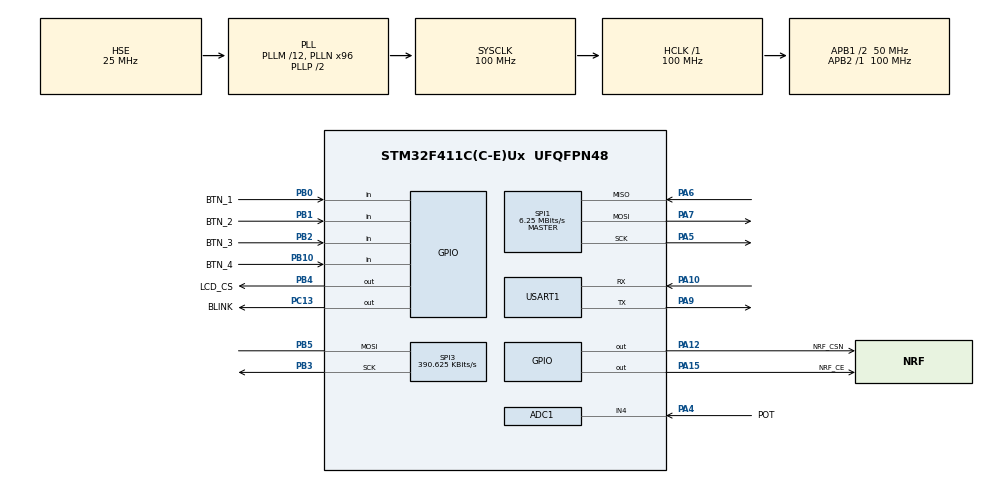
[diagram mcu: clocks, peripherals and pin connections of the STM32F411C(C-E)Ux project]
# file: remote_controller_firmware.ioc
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ADC1.Channel-0\#ChannelRegularConversion=ADC_CHANNEL_4
ADC1.NbrOfConversionFlag=1
ADC1.Rank-0\#ChannelRegularConversion=1
ADC1.SamplingTime-0\#ChannelRegularConversion=ADC_SAMPLETIME_3CYCLES
ADC1.master=1
Mcu.Family=STM32F4
Mcu.Name=STM32F411C(C-E)Ux
Mcu.Package=UFQFPN48
NVIC.PriorityGroup=NVIC_PRIORITYGROUP_4
NVIC.TIM4_IRQn=true\:0\:0\:false\:false\:true\:true\:true\:true
NVIC.TIM5_IRQn=true\:0\:0\:false\:false\:true\:true\:true\:true
NVIC.USART1_IRQn=true\:0\:0\:false\:false\:true\:true\:true\:true
PA10.Mode=Asynchronous
PA10.Signal=USART1_RX
PA12.GPIO_Label=NRF_CSN
PA12.PinState=GPIO_PIN_SET
PA12.Signal=GPIO_Output
PA15.GPIO_Label=NRF_CE
PA15.Signal=GPIO_Output
PA4.GPIO_Label=POT
PA4.Signal=ADCx_IN4
PA5.Mode=Full_Duplex_Master
PA5.Signal=SPI1_SCK
PA6.Mode=Full_Duplex_Master
PA6.Signal=SPI1_MISO
PA7.Mode=Full_Duplex_Master
PA7.Signal=SPI1_MOSI
PA9.Mode=Asynchronous
PA9.Signal=USART1_TX
PB0.GPIO_Label=BTN_1
PB0.GPIO_PuPd=GPIO_PULLUP
PB0.Signal=GPIO_Input
PB1.GPIO_Label=BTN_2
PB1.GPIO_PuPd=GPIO_PULLUP
PB1.Signal=GPIO_Input
PB10.GPIO_Label=BTN_4
PB10.GPIO_PuPd=GPIO_PULLUP
PB10.Signal=GPIO_Input
PB2.GPIO_Label=BTN_3
PB2.GPIO_PuPd=GPIO_PULLUP
PB2.Signal=GPIO_Input
PB3.Mode=Simplex_Bidirectional_Master
PB3.Signal=SPI3_SCK
PB4.GPIO_Label=LCD_CS
PB4.Signal=GPIO_Output
PB5.Mode=Simplex_Bidirectional_Master
PB5.Signal=SPI3_MOSI
PC13-ANTI_TAMP.GPIO_Label=BLINK
PC13-ANTI_TAMP.Signal=GPIO_Output
PH0\ -\ OSC_IN.Mode=HSE-External-Oscillator
PH0\ -\ OSC_IN.Signal=RCC_OSC_IN
PH1\ -\ OSC_OUT.Mode=HSE-External-Oscillator
PH1\ -\ OSC_OUT.Signal=RCC_OSC_OUT
ProjectManager.HeapSize=0x200
ProjectManager.StackSize=0x400
ProjectManager.TargetToolchain=STM32CubeIDE
RCC.48MHZClocksFreq_Value=50000000
RCC.AHBFreq_Value=100000000
RCC.APB1CLKDivider=RCC_HCLK_DIV2
RCC.APB1Freq_Value=50000000
RCC.APB1TimFreq_Value=100000000
RCC.APB2Freq_Value=100000000
RCC.APB2TimFreq_Value=100000000
RCC.CortexFreq_Value=100000000
RCC.HCLKFreq_Value=100000000
RCC.HSE_VALUE=25000000
RCC.HSI_VALUE=16000000
RCC.LSE_VALUE=32768
RCC.PLLM=12
RCC.PLLN=96
RCC.PLLSourceVirtual=RCC_PLLSOURCE_HSE
RCC.SYSCLKFreq_VALUE=100000000
RCC.SYSCLKSource=RCC_SYSCLKSOURCE_PLLCLK
RCC.VCOOutputFreq_Value=200000000
SH.ADCx_IN4.0=ADC1_IN4,IN4
SPI1.BaudRatePrescaler=SPI_BAUDRATEPRESCALER_16
SPI1.CalculateBaudRate=6.25 MBits/s
SPI1.Direction=SPI_DIRECTION_2LINES
SPI1.Mode=SPI_MODE_MASTER
SPI1.VirtualType=VM_MASTER
SPI3.BaudRatePrescaler=SPI_BAUDRATEPRESCALER_128
SPI3.CLKPhase=SPI_PHASE_2EDGE
SPI3.CLKPolarity=SPI_POLARITY_HIGH
SPI3.CalculateBaudRate=390.625 KBits/s
SPI3.Direction=SPI_DIRECTION_1LINE
SPI3.Mode=SPI_MODE_MASTER
SPI3.VirtualType=VM_MASTER
TIM11.Period=0xffff
TIM11.Prescaler=99
TIM4.AutoReloadPreload=TIM_AUTORELOAD_PRELOAD_ENABLE
TIM4.Period=999
TIM4.Prescaler=999
TIM5.AutoReloadPreload=TIM_AUTORELOAD_PRELOAD_ENABLE
TIM5.Period=999
TIM5.Prescaler=99
USART1.VirtualMode=VM_ASYNC
VP_TIM11_VS_ClockSourceINT.Mode=Enable_Timer
VP_TIM4_VS_ClockSourceINT.Mode=Internal
VP_TIM5_VS_ClockSourceINT.Mode=Internal
board=custom

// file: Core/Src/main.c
/* USER CODE BEGIN Header */
/**
  ******************************************************************************
  * @file           : main.c
  * @brief          : Main program body
  ******************************************************************************
  * @attention
  *
  * Copyright (c) 2026 STMicroelectronics.
  * All rights reserved.
  *
  * This software is licensed under terms that can be found in the LICENSE file
  * in the root directory of this software component.
  * If no LICENSE file comes with this software, it is provided AS-IS.
  *
  ******************************************************************************
  */
/* USER CODE END Header */
#include "main.h"

/* USER CODE BEGIN Includes */
#include <stdio.h>

#include "st7920_driver.h"
#include "nRF24_driver.h"

#include "message_protocol.h"

#include "command_processor.h"
/* USER CODE END Includes */

ADC_HandleTypeDef hadc1;

SPI_HandleTypeDef hspi1;
SPI_HandleTypeDef hspi3;

TIM_HandleTypeDef htim4;
TIM_HandleTypeDef htim5;
TIM_HandleTypeDef htim11;

UART_HandleTypeDef huart1;

/* USER CODE BEGIN PV */
TIM_HandleTypeDef* lcd_us_timer = &htim11;

UART_HandleTypeDef* huart_dbg = &huart1;

SPI_HandleTypeDef* nrf_spi = &hspi1;
SPI_HandleTypeDef* lcd_spi = &hspi3;
/* USER CODE END PV */

void SystemClock_Config(void);
static void MX_GPIO_Init(void);
static void MX_SPI3_Init(void);
static void MX_ADC1_Init(void);
static void MX_SPI1_Init(void);
static void MX_USART1_UART_Init(void);
static void MX_TIM11_Init(void);
static void MX_TIM4_Init(void);
static void MX_TIM5_Init(void);

/* USER CODE BEGIN 0 */
uint16_t POT_result = 2048;

RWP_MODE rwp_mode = RWP_MODE_HALTED;
RWP_DATA_KIND rwp_data = SENSOR_DATA;

uint8_t control_mode;
float rpm = 0.0, pitch, roll, yaw;
float v_a, v_b, v_c, v_d, v_e, v_f, ctrl_value;

uint8_t button_state[4] = {0};

void HAL_TIM_PeriodElapsedCallback(TIM_HandleTypeDef* htim) {
  static uint32_t tick_count = 0;

  // Operate the nRF24 at 100Hz
  // Also process UART at 100Hz
  if (htim == &htim4) {
    // If the nRF24 received a response packet, get and parse it.
    uint8_t status = readNRF24status();
    if ((status & 0b00100000) != 0) {
      RWP_MESSAGE_FRAME rwp_message;

      // Retrieve acknowledgement payload
      readNRF24payload(rwp_message.bytes, 32);

      if (rwp_message.control_data.data_type == SENSOR_DATA) {
        rpm   = rwp_message.sensor_data.RPM;
        pitch = rwp_message.sensor_data.pitch;
        roll  = rwp_message.sensor_data.roll;
        yaw   = rwp_message.sensor_data.yaw;

        if (getDebug() == 1) {
          char buffer[256];
          float t = (float)tick_count/100.0;
          sprintf(buffer, "%6.2f, %8.5f, %8.5f, %8.5f, %5.1f\r\n", t, yaw, pitch, roll, rpm);

          uint8_t len = strlen(buffer);

          putString((uint8_t*)buffer, len);
        }
      }
      else if (rwp_message.control_data.data_type == CONTROL_DATA) {
        v_a = rwp_message.control_data.v_a;
        v_b = rwp_message.control_data.v_b;
        v_c = rwp_message.control_data.v_c;
        v_d = rwp_message.control_data.v_d;
        v_e = rwp_message.control_data.v_e;
        v_f = rwp_message.control_data.v_f;
        ctrl_value = rwp_message.control_data.ctrl_value;

        if (getDebug() == 1) {
          char buffer[256];
          float t = (float)tick_count/100.0;
          sprintf(buffer, "%6.2f, %8.5f, %8.5f, %8.5f, %8.5f, %8.5f, %8.5f, %8.5f\r\n", t, v_a, v_b, v_c, v_d, v_e, v_f, ctrl_value);

          uint8_t len = strlen(buffer);

          putString((uint8_t*)buffer, len);
        }
      }

      // Clear TX DS interrupt
      writeNRF24register(N24_STATUS, status | 0b00100000);
    }

    // On retransmission overflow, silently ignore...
    if ((status & 0b00010000) != 0) {
      writeNRF24register(N24_STATUS, status | 0b00010000);
    }

    // Set up a message frame
    RMT_MESSAGE_FRAME rmt_message;
    memset(rmt_message.bytes, 0x00, 16);

    // Put the potentiometer reading in the transmit buffer
    rmt_message.control_msg.req_mode = rwp_mode;
    rmt_message.control_msg.req_data_type = rwp_data;
    rmt_message.control_msg.pot_value = POT_result-2048;

    // Send the message
    sendNRF24payload(rmt_message.bytes, 16);

    processUART();

    ++tick_count;
  }
  // Sample and debounce the buttons at 1kHz
  // Also sample and filter the potentiometer at 1kHz
  else if (htim == &htim5) {
    // Sample the buttons
    GPIO_PinState btn1 = HAL_GPIO_ReadPin(BTN_2_GPIO_Port, BTN_2_Pin); // Yes, the numbers disagree
    GPIO_PinState btn2 = HAL_GPIO_ReadPin(BTN_1_GPIO_Port, BTN_1_Pin); // I built the remote incorrectly...
    GPIO_PinState btn3 = HAL_GPIO_ReadPin(BTN_4_GPIO_Port, BTN_4_Pin);
    GPIO_PinState btn4 = HAL_GPIO_ReadPin(BTN_3_GPIO_Port, BTN_3_Pin);

    GPIO_PinState cur_states[4] = {
      btn1,
      btn2,
      btn3,
      btn4
    };

    static uint8_t button_counters[4];
    uint8_t num_pressed = 0;

    for (int i=0; i<4; i++) {
      if (cur_states[i] == GPIO_PIN_SET) button_counters[i] = 0;
      else ++num_pressed;

      if (button_counters[i] >= 5) button_state[i] = 1;
      else {
        button_state[i] = 0;
        ++button_counters[i];
      }
    }

    // Get a reading from the potentiometer
    HAL_ADC_Start(&hadc1);
    HAL_ADC_PollForConversion(&hadc1, 1);
    uint16_t result = HAL_ADC_GetValue(&hadc1);
    // Filter the result
    POT_result = 0.6*POT_result + 0.4*result;

    // Press all four buttons with knob all the way
    // to the right to get into debug mode
    if (num_pressed == 4 && POT_result < 10)
      setDebug(1);
  }
}

typedef enum {
  MAIN_MENU,
  MANUAL_MENU,
  AUTO_MENU,
  CALIBRATION_MENU,
  HELP_MENU,
  DEBUG_MENU,
  EASTER_EGG_MENU,
  ERROR_ACKNOWLEDGE,
  CONNECTION_PENDING
} rmt_mode;

rmt_mode cur_rmt_mode  = DEBUG_MENU;
rmt_mode prev_rmt_mode = DEBUG_MENU;

int8_t menu_sel_index = 0;
uint16_t frame_counter = 0;

void btnSelect() {
  switch (cur_rmt_mode) {
    case DEBUG_MENU:
      if (rwp_mode == RWP_MODE_MANUAL) rwp_mode = RWP_MODE_AUTO;
      else rwp_mode = RWP_MODE_MANUAL;
      break;
    case ERROR_ACKNOWLEDGE:
      cur_rmt_mode = MAIN_MENU;
      break;
    case MAIN_MENU: {
      rmt_mode entry_mode[] = {
        MANUAL_MENU,
        AUTO_MENU,
        CALIBRATION_MENU,
        HELP_MENU,
        DEBUG_MENU
      };

      cur_rmt_mode = entry_mode[menu_sel_index];
    }
    default:
      break;
  }
}

void btnBack() {
  switch (cur_rmt_mode) {
    case DEBUG_MENU:
      cur_rmt_mode = MAIN_MENU;
      rwp_mode = RWP_MODE_HALTED;
      break;
    default:
      cur_rmt_mode = MAIN_MENU;
      rwp_mode = RWP_MODE_HALTED;
      break;
  }
}

void btnUp() {
  switch (cur_rmt_mode) {
    case DEBUG_MENU:
      if (rwp_mode == RWP_MODE_HALTED) rwp_mode = RWP_MODE_LOCK;
      else if (rwp_mode == RWP_MODE_LOCK) rwp_mode = RWP_MODE_CALIBRATION;
      else rwp_mode = RWP_MODE_HALTED;
      break;
    default:
      --menu_sel_index;
      break;
  }
}

void btnDown() {
  switch (cur_rmt_mode) {
    case DEBUG_MENU:
      if (rwp_mode != RWP_MODE_CALIBRATION) rwp_mode = RWP_MODE_CALIBRATION;
      break;
    default:
      ++menu_sel_index;
      break;
  }

  return;
}

void btnHandler() {
  // Buttons ordered from top left to bottom right
  static uint8_t prev_state[4] = {0, 0, 0, 0};
  void (*btnFn[4])() = {&btnSelect, &btnUp, &btnBack, &btnDown};

  for (int i=0; i<4; i++) {
    if (prev_state[i] == 0 && button_state[i] == 1) {
      prev_state[i] = 1;

      btnFn[i]();
    }
    else if (button_state[i] == 0) {
      prev_state[i] = 0;
    }
  }
}

void updateDisplay() {
  // General purpose string buffer
  uint8_t buffer[32];

  // When switching remote modes, completely clear the buffer
  static rmt_mode last_rmt_mode = DEBUG_MENU;
  uint8_t new_menu = (last_rmt_mode != cur_rmt_mode);
  if (new_menu) LCDclearBuffer(0x00);
  last_rmt_mode = cur_rmt_mode;

  switch (cur_rmt_mode) {
  case DEBUG_MENU:
    // Print the button statusses
    sprintf((char*)buffer, "BTNS [%.1d%.1d%.1d%.1d]", button_state[0], button_state[1], button_state[2], button_state[3]);
    LCDdrawEmphString(buffer, 11, 0, 0);

    // Display the last potentiometer reading
    float voltage = 3.3/4096.0 * POT_result;
    sprintf((char*)buffer, "POT  %1.02fV", voltage);
    LCDdrawString(buffer, 10, 10, 0);

    if (rwp_data == SENSOR_DATA) {
      // Display the received data
      sprintf((char*)buffer, "RPM   %5d", (int)rpm);
      LCDdrawString(buffer, 11, 28, 0);

      sprintf((char*)buffer, "Y    %6.2f", yaw);
      LCDdrawString(buffer, 11, 37, 0);

      sprintf((char*)buffer, "P    %6.2f", pitch);
      LCDdrawString(buffer, 11, 46, 0);

      sprintf((char*)buffer, "R    %6.2f", roll);
      LCDdrawString(buffer, 11, 54, 0);
    }
    else {
      sprintf((char*)buffer, "CVAL %6.3f", ctrl_value);
      LCDdrawString(buffer, 11, 28, 0);

      sprintf((char*)buffer, "a_p %7.4f", v_a);
      LCDdrawString(buffer, 11, 37, 0);

      sprintf((char*)buffer, "w_p %7.4f", v_b);
      LCDdrawString(buffer, 11, 46, 0);

      sprintf((char*)buffer, "w_f %7.4f", v_c);
      LCDdrawString(buffer, 11, 54, 0);

      sprintf((char*)buffer, "PEp %6.3f", v_d);
      LCDdrawString(buffer, 10, 37, 68);

      sprintf((char*)buffer, "KEp %6.3f", v_e);
      LCDdrawString(buffer, 10, 46, 68);

      sprintf((char*)buffer, "KEf %6.3f", v_f);
      LCDdrawString(buffer, 10, 54, 68);
    }

    char* s = "????";
    if (rwp_mode == RWP_MODE_MANUAL) s = "MANL";
    else if (rwp_mode == RWP_MODE_AUTO) s = "AUTO";
    else if (rwp_mode == RWP_MODE_HALTED) s = "HALT";
    else if (rwp_mode == RWP_MODE_CALIBRATION) s = "CALI";
    else if (rwp_mode == RWP_MODE_LOCK) s = "LOCK";
    sprintf((char*)buffer, "MODE  %s", s);
    LCDdrawString(buffer, 10, 28, 68);

    // Nice divider
    LCDdrawRect(66, 27, 1, 37, 1);
    break;
  case MAIN_MENU:
    // Header
    LCDdrawString((uint8_t*)"Menu", 4, 1, 51);
    LCDdrawRect(1, 9, 126, 1, 1);

    // Print entries
    char* menu_entries[] = {
      "Manual mode",
      "Automatic mode",
      "Calibration",
      "Help",
      "Debug",
      "Easter eggs :)"
    };

    // Set menu length based on what has been unlocked...
    uint8_t l = 4;
    if (getDebug()) l = 6;

    menu_sel_index = (l+menu_sel_index) % l;

    for (uint8_t i=0; i<l; i++) {
      if (i == menu_sel_index)
        LCDdrawEmphString((uint8_t*)menu_entries[i], strlen(menu_entries[i]), 10*i + 11, 1);
      else
        LCDdrawStringDeemph((uint8_t*)menu_entries[i], strlen(menu_entries[i]), 10*i + 11, 1);
    }
    break;
  case MANUAL_MENU: {
    // Check whether potentiometer is centered when entering menu
    static uint8_t pot_check = 0;
    if (new_menu) {
      pot_check = 0;
      rwp_mode = RWP_MODE_HALTED;
    }
    if (pot_check == 0) {
      if (POT_result > 2028 && POT_result < 2068) {
        pot_check = 1;
        rwp_mode = RWP_MODE_MANUAL;
        LCDclearBuffer(0x00);
      }
      else {
        // Print message while potentiometer is not centered
        LCDdrawString((uint8_t*)"Set knob to 0", 13, 11, 1);
        break;
      }
    }
    }
    // Header
    LCDdrawString((uint8_t*)"Manual mode", 11, 1, 31);
    LCDdrawRect(1, 9, 126, 1, 1);

    // Print the current control value
    float ctrl_val = (POT_result-2048)/2048.0;
    sprintf((char*)buffer, "Knob value:% 2.03f", ctrl_val);
    LCDdrawString(buffer, 18, 11, 1);

    break;
  case AUTO_MENU:
    // Header
    LCDdrawString((uint8_t*)"Auto mode", 9, 1, 37);
    LCDdrawRect(1, 9, 126, 1, 1);

    break;
  default:
    LCDdrawString((uint8_t*)"Bad menu ID", 11, 1, 1);
    break;
  }

  // Update screen.
  LCDupdateFromBuffer();

  // Update frame counter, for anything that wants it
  ++frame_counter;
}

/* USER CODE END 0 */

int main(void)
{

  /* MCU Configuration--------------------------------------------------------*/

  /* Reset of all peripherals, Initializes the Flash interface and the Systick. */
  HAL_Init();

  /* Configure the system clock */
  SystemClock_Config();

  /* Initialize all configured peripherals */
  MX_GPIO_Init();
  MX_SPI3_Init();
  MX_ADC1_Init();
  MX_SPI1_Init();
  MX_USART1_UART_Init();
  MX_TIM11_Init();
  MX_TIM4_Init();
  MX_TIM5_Init();
  /* USER CODE BEGIN 2 */

  HAL_TIM_Base_Start(&htim11);

  // Initialize the LCD
  LCDinit();
  LCDsetGraphicMode(1);
  LCDdrawBootScreen();
  LCDupdateFromBuffer();

  // Initialize the nRF24
  NRF24init();

  // Start the nRF24 timer
  HAL_TIM_Base_Start_IT(&htim4);

  // Start sampling the buttons
  HAL_TIM_Base_Start_IT(&htim5);

  HAL_Delay(500);

  LCDclearBuffer(0);
  LCDupdateFromBuffer();

  /* USER CODE END 2 */

  /* Infinite loop */
  /* USER CODE BEGIN WHILE */
  while (1)
  {
    updateDisplay();

    // Hack to run the button handler at 100Hz, and the screen at 10Hz
    for (int i=0; i<10; i++) {
      HAL_Delay(10);
      btnHandler();
    }

	// Cool demo :)
//    TAKE THESE OUT OF LOOP!
//	  uint8_t x = 0;
//	  uint8_t y = 0;
//	  float t   = 0.0;
//    KEEP THESE IN LOOP!
//    LCDdrawRect(x, y, 5*6, 8, 0);
//    x = 40 + floor(32*sin(1*t));
//    y = 20 + floor(16*sin(2*t));
//    LCDdrawString((uint8_t*)"COOL!", 5, y, x);
//    LCDupdateFromBuffer();
//
//    t += 0.1;
//    HAL_Delay(100);
    /* USER CODE END WHILE */

  }
}

void SystemClock_Config(void)
{
  RCC_OscInitTypeDef RCC_OscInitStruct = {0};
  RCC_ClkInitTypeDef RCC_ClkInitStruct = {0};

  /** Configure the main internal regulator output voltage
  */
  __HAL_RCC_PWR_CLK_ENABLE();
  __HAL_PWR_VOLTAGESCALING_CONFIG(PWR_REGULATOR_VOLTAGE_SCALE1);

  /** Initializes the RCC Oscillators according to the specified parameters
  * in the RCC_OscInitTypeDef structure.
  */
  RCC_OscInitStruct.OscillatorType = RCC_OSCILLATORTYPE_HSE;
  RCC_OscInitStruct.HSEState = RCC_HSE_ON;
  RCC_OscInitStruct.PLL.PLLState = RCC_PLL_ON;
  RCC_OscInitStruct.PLL.PLLSource = RCC_PLLSOURCE_HSE;
  RCC_OscInitStruct.PLL.PLLM = 12;
  RCC_OscInitStruct.PLL.PLLN = 96;
  RCC_OscInitStruct.PLL.PLLP = RCC_PLLP_DIV2;
  RCC_OscInitStruct.PLL.PLLQ = 4;
  if (HAL_RCC_OscConfig(&RCC_OscInitStruct) != HAL_OK)
  {
    Error_Handler();
  }

  /** Initializes the CPU, AHB and APB buses clocks
  */
  RCC_ClkInitStruct.ClockType = RCC_CLOCKTYPE_HCLK|RCC_CLOCKTYPE_SYSCLK
                              |RCC_CLOCKTYPE_PCLK1|RCC_CLOCKTYPE_PCLK2;
  RCC_ClkInitStruct.SYSCLKSource = RCC_SYSCLKSOURCE_PLLCLK;
  RCC_ClkInitStruct.AHBCLKDivider = RCC_SYSCLK_DIV1;
  RCC_ClkInitStruct.APB1CLKDivider = RCC_HCLK_DIV2;
  RCC_ClkInitStruct.APB2CLKDivider = RCC_HCLK_DIV1;

  if (HAL_RCC_ClockConfig(&RCC_ClkInitStruct, FLASH_LATENCY_3) != HAL_OK)
  {
    Error_Handler();
  }
}

static void MX_ADC1_Init(void)
{

  ADC_ChannelConfTypeDef sConfig = {0};

  /** Configure the global features of the ADC (Clock, Resolution, Data Alignment and number of conversion)
  */
  hadc1.Instance = ADC1;
  hadc1.Init.ClockPrescaler = ADC_CLOCK_SYNC_PCLK_DIV4;
  hadc1.Init.Resolution = ADC_RESOLUTION_12B;
  hadc1.Init.ScanConvMode = DISABLE;
  hadc1.Init.ContinuousConvMode = DISABLE;
  hadc1.Init.DiscontinuousConvMode = DISABLE;
  hadc1.Init.ExternalTrigConvEdge = ADC_EXTERNALTRIGCONVEDGE_NONE;
  hadc1.Init.ExternalTrigConv = ADC_SOFTWARE_START;
  hadc1.Init.DataAlign = ADC_DATAALIGN_RIGHT;
  hadc1.Init.NbrOfConversion = 1;
  hadc1.Init.DMAContinuousRequests = DISABLE;
  hadc1.Init.EOCSelection = ADC_EOC_SINGLE_CONV;
  if (HAL_ADC_Init(&hadc1) != HAL_OK)
  {
    Error_Handler();
  }

  /** Configure for the selected ADC regular channel its corresponding rank in the sequencer and its sample time.
  */
  sConfig.Channel = ADC_CHANNEL_4;
  sConfig.Rank = 1;
  sConfig.SamplingTime = ADC_SAMPLETIME_3CYCLES;
  if (HAL_ADC_ConfigChannel(&hadc1, &sConfig) != HAL_OK)
  {
    Error_Handler();
  }

}

static void MX_SPI1_Init(void)
{

  /* SPI1 parameter configuration*/
  hspi1.Instance = SPI1;
  hspi1.Init.Mode = SPI_MODE_MASTER;
  hspi1.Init.Direction = SPI_DIRECTION_2LINES;
  hspi1.Init.DataSize = SPI_DATASIZE_8BIT;
  hspi1.Init.CLKPolarity = SPI_POLARITY_LOW;
  hspi1.Init.CLKPhase = SPI_PHASE_1EDGE;
  hspi1.Init.NSS = SPI_NSS_SOFT;
  hspi1.Init.BaudRatePrescaler = SPI_BAUDRATEPRESCALER_16;
  hspi1.Init.FirstBit = SPI_FIRSTBIT_MSB;
  hspi1.Init.TIMode = SPI_TIMODE_DISABLE;
  hspi1.Init.CRCCalculation = SPI_CRCCALCULATION_DISABLE;
  hspi1.Init.CRCPolynomial = 10;
  if (HAL_SPI_Init(&hspi1) != HAL_OK)
  {
    Error_Handler();
  }

}

static void MX_SPI3_Init(void)
{

  /* SPI3 parameter configuration*/
  hspi3.Instance = SPI3;
  hspi3.Init.Mode = SPI_MODE_MASTER;
  hspi3.Init.Direction = SPI_DIRECTION_1LINE;
  hspi3.Init.DataSize = SPI_DATASIZE_8BIT;
  hspi3.Init.CLKPolarity = SPI_POLARITY_HIGH;
  hspi3.Init.CLKPhase = SPI_PHASE_2EDGE;
  hspi3.Init.NSS = SPI_NSS_SOFT;
  hspi3.Init.BaudRatePrescaler = SPI_BAUDRATEPRESCALER_128;
  hspi3.Init.FirstBit = SPI_FIRSTBIT_MSB;
  hspi3.Init.TIMode = SPI_TIMODE_DISABLE;
  hspi3.Init.CRCCalculation = SPI_CRCCALCULATION_DISABLE;
  hspi3.Init.CRCPolynomial = 10;
  if (HAL_SPI_Init(&hspi3) != HAL_OK)
  {
    Error_Handler();
  }

}

static void MX_TIM4_Init(void)
{

  TIM_ClockConfigTypeDef sClockSourceConfig = {0};
  TIM_MasterConfigTypeDef sMasterConfig = {0};

  htim4.Instance = TIM4;
  htim4.Init.Prescaler = 999;
  htim4.Init.CounterMode = TIM_COUNTERMODE_UP;
  htim4.Init.Period = 999;
  htim4.Init.ClockDivision = TIM_CLOCKDIVISION_DIV1;
  htim4.Init.AutoReloadPreload = TIM_AUTORELOAD_PRELOAD_ENABLE;
  if (HAL_TIM_Base_Init(&htim4) != HAL_OK)
  {
    Error_Handler();
  }
  sClockSourceConfig.ClockSource = TIM_CLOCKSOURCE_INTERNAL;
  if (HAL_TIM_ConfigClockSource(&htim4, &sClockSourceConfig) != HAL_OK)
  {
    Error_Handler();
  }
  sMasterConfig.MasterOutputTrigger = TIM_TRGO_RESET;
  sMasterConfig.MasterSlaveMode = TIM_MASTERSLAVEMODE_DISABLE;
  if (HAL_TIMEx_MasterConfigSynchronization(&htim4, &sMasterConfig) != HAL_OK)
  {
    Error_Handler();
  }

}

static void MX_TIM5_Init(void)
{

  TIM_ClockConfigTypeDef sClockSourceConfig = {0};
  TIM_MasterConfigTypeDef sMasterConfig = {0};

  htim5.Instance = TIM5;
  htim5.Init.Prescaler = 99;
  htim5.Init.CounterMode = TIM_COUNTERMODE_UP;
  htim5.Init.Period = 999;
  htim5.Init.ClockDivision = TIM_CLOCKDIVISION_DIV1;
  htim5.Init.AutoReloadPreload = TIM_AUTORELOAD_PRELOAD_ENABLE;
  if (HAL_TIM_Base_Init(&htim5) != HAL_OK)
  {
    Error_Handler();
  }
  sClockSourceConfig.ClockSource = TIM_CLOCKSOURCE_INTERNAL;
  if (HAL_TIM_ConfigClockSource(&htim5, &sClockSourceConfig) != HAL_OK)
  {
    Error_Handler();
  }
  sMasterConfig.MasterOutputTrigger = TIM_TRGO_RESET;
  sMasterConfig.MasterSlaveMode = TIM_MASTERSLAVEMODE_DISABLE;
  if (HAL_TIMEx_MasterConfigSynchronization(&htim5, &sMasterConfig) != HAL_OK)
  {
    Error_Handler();
  }

}

static void MX_TIM11_Init(void)
{

  htim11.Instance = TIM11;
  htim11.Init.Prescaler = 99;
  htim11.Init.CounterMode = TIM_COUNTERMODE_UP;
  htim11.Init.Period = 0xffff;
  htim11.Init.ClockDivision = TIM_CLOCKDIVISION_DIV1;
  htim11.Init.AutoReloadPreload = TIM_AUTORELOAD_PRELOAD_DISABLE;
  if (HAL_TIM_Base_Init(&htim11) != HAL_OK)
  {
    Error_Handler();
  }

}

static void MX_USART1_UART_Init(void)
{

  huart1.Instance = USART1;
  huart1.Init.BaudRate = 115200;
  huart1.Init.WordLength = UART_WORDLENGTH_8B;
  huart1.Init.StopBits = UART_STOPBITS_1;
  huart1.Init.Parity = UART_PARITY_NONE;
  huart1.Init.Mode = UART_MODE_TX_RX;
  huart1.Init.HwFlowCtl = UART_HWCONTROL_NONE;
  huart1.Init.OverSampling = UART_OVERSAMPLING_16;
  if (HAL_UART_Init(&huart1) != HAL_OK)
  {
    Error_Handler();
  }

}

static void MX_GPIO_Init(void)
{
  GPIO_InitTypeDef GPIO_InitStruct = {0};

  /* GPIO Ports Clock Enable */
  __HAL_RCC_GPIOC_CLK_ENABLE();
  __HAL_RCC_GPIOH_CLK_ENABLE();
  __HAL_RCC_GPIOA_CLK_ENABLE();
  __HAL_RCC_GPIOB_CLK_ENABLE();

  /*Configure GPIO pin Output Level */
  HAL_GPIO_WritePin(BLINK_GPIO_Port, BLINK_Pin, GPIO_PIN_RESET);

  /*Configure GPIO pin Output Level */
  HAL_GPIO_WritePin(NRF_CSN_GPIO_Port, NRF_CSN_Pin, GPIO_PIN_SET);

  /*Configure GPIO pin Output Level */
  HAL_GPIO_WritePin(NRF_CE_GPIO_Port, NRF_CE_Pin, GPIO_PIN_RESET);

  /*Configure GPIO pin Output Level */
  HAL_GPIO_WritePin(LCD_CS_GPIO_Port, LCD_CS_Pin, GPIO_PIN_RESET);

  /*Configure GPIO pin : BLINK_Pin */
  GPIO_InitStruct.Pin = BLINK_Pin;
  GPIO_InitStruct.Mode = GPIO_MODE_OUTPUT_PP;
  GPIO_InitStruct.Pull = GPIO_NOPULL;
  GPIO_InitStruct.Speed = GPIO_SPEED_FREQ_LOW;
  HAL_GPIO_Init(BLINK_GPIO_Port, &GPIO_InitStruct);

  /*Configure GPIO pins : BTN_1_Pin BTN_2_Pin BTN_3_Pin BTN_4_Pin */
  GPIO_InitStruct.Pin = BTN_1_Pin|BTN_2_Pin|BTN_3_Pin|BTN_4_Pin;
  GPIO_InitStruct.Mode = GPIO_MODE_INPUT;
  GPIO_InitStruct.Pull = GPIO_PULLUP;
  HAL_GPIO_Init(GPIOB, &GPIO_InitStruct);

  /*Configure GPIO pins : NRF_CSN_Pin NRF_CE_Pin */
  GPIO_InitStruct.Pin = NRF_CSN_Pin|NRF_CE_Pin;
  GPIO_InitStruct.Mode = GPIO_MODE_OUTPUT_PP;
  GPIO_InitStruct.Pull = GPIO_NOPULL;
  GPIO_InitStruct.Speed = GPIO_SPEED_FREQ_LOW;
  HAL_GPIO_Init(GPIOA, &GPIO_InitStruct);

  /*Configure GPIO pin : LCD_CS_Pin */
  GPIO_InitStruct.Pin = LCD_CS_Pin;
  GPIO_InitStruct.Mode = GPIO_MODE_OUTPUT_PP;
  GPIO_InitStruct.Pull = GPIO_NOPULL;
  GPIO_InitStruct.Speed = GPIO_SPEED_FREQ_LOW;
  HAL_GPIO_Init(LCD_CS_GPIO_Port, &GPIO_InitStruct);

}

void Error_Handler(void)
{
  __disable_irq();
  while (1)
  {
  }
}
